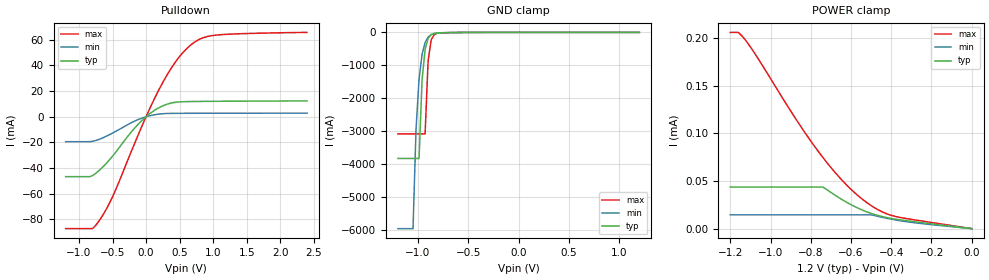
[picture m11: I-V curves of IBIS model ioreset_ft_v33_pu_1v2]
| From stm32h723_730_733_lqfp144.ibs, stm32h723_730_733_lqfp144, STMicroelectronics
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|   Model ioreset_ft_v33_pu_1v2
[Model]  ioreset_ft_v33_pu_1v2
Model_type I/O_open_drain
Polarity   Inverting
Enable   Active-High
Vinl =   0.360000V
Vinh =   0.840000V
Vmeas =  0.600000V
Cref =   30.000000pF
Rref =   100.000000M
Vref =   0.0V
C_comp   2.538100pF   2.521000pF   2.714600pF
[Temperature Range]   25.000000   0.140000k   -40.000000
[Pullup Reference]   1.200000V   0.900000V   1.900000V
[Pulldown Reference]   0.0V   0.0V   0.0V
[POWER Clamp Reference]   1.200000V   0.900000V   1.900000V
[GND Clamp Reference]   0.0V   0.0V   0.0V
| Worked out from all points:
|   slope of the pulldown table from 0 to 0.18 V, typ, clamps not added: 27 ohm
|   GND clamp passes 1 mA (typ) near -0.49 V on its own axis
[Pulldown]
|Voltage   I(typ)   I(min)   I(max)
-1.2V     -46.66mA   -19.4mA    -87.14mA
-800mV    -45.89mA   -19.15mA   -87.14mA
-680mV    -40.87mA   -17.21mA   -79.49mA
-480mV    -29.42mA   -12.15mA   -60.05mA
-160mV    -8.23mA    -3.132mA   -19.4mA
80mV      3.353mA    1.095mA    9.197mA
240mV     8.293mA    2.339mA    25.83mA
400mV     10.97mA    2.656mA    39.78mA
680mV     11.87mA    2.71mA     56.49mA
840mV     11.97mA    2.726mA    61.33mA
1.04V     12.06mA    2.74mA     63.56mA
2.4V      12.34mA    2.81mA     65.71mA
[GND_clamp]
|Voltage   I(typ)   I(min)   I(max)
-1.2V     -3.825A    -5.957A    -3.081A
-1.05V    -3.825A    -5.957A    -3.081A
-1.02V    -3.825A    -2.931A    -3.081A
-990mV    -3.825A    -1.42A     -3.081A
-960mV    -1.441A    -668.9mA   -3.081A
-930mV    -519mA     -309.3mA   -3.081A
-900mV    -183.4mA   -143.6mA   -868.7mA
-870mV    -69.4mA    -69.06mA   -231.1mA
-840mV    -31.29mA   -35.68mA   -67.55mA
-810mV    -17.92mA   -20.53mA   -27.11mA
-750mV    -9.799mA   -9.734mA   -12.04mA
1.2V      0A         38.98nA    0A
[POWER_clamp]
|Voltage   I(typ)   I(min)   I(max)
-1.2V     43.68uA    14.5uA     205.9uA
-1.16V    43.68uA    14.5uA     205.9uA
-1.12V    43.68uA    14.5uA     196.6uA
-1.06V    43.68uA    14.5uA     177.9uA
-860mV    43.68uA    14.5uA     110.6uA
-740mV    43.68uA    14.5uA     74.79uA
-640mV    29.94uA    14.5uA     49.83uA
-560mV    21.04uA    14.5uA     33.74uA
-480mV    14.69uA    13.59uA    21.61uA
-400mV    10.72uA    9.966uA    13.97uA
-260mV    6.619uA    5.61uA     8.461uA
0V        0A         39.85nA    0A
[Ramp]
| variable   typ   min   max
dV/dt_r  0.72000/0.40540u   0.53884/0.26802u   1.14000/0.26450u
dV/dt_f  0.72000/60.00647n   0.53884/59.78855n   1.14000/60.00006n
R_load = 40.000000M
|[Rising Waveform]
|R_fixture= 40.000000M
|V_fixture= 1.200000
|V_fixture_min= 0.900000
|V_fixture_max= 1.900000
||time   V(typ)   V(min)   V(max)
|0.0S   0.667610uV   1.516200uV   0.406330uV
|5.005005uS   0.667420uV   1.516300uV   1.901500V
|10.010010uS   0.667230uV   1.516300uV   1.901600V
|15.015015uS   0.667040uV   1.516300uV   1.901600V
|20.020020uS   0.666850uV   1.516200uV   1.901600V
|25.025025uS   0.667250uV   1.516100uV   1.901600V
|30.030030uS   0.667410uV   1.516000uV   1.901600V
|35.035035uS   0.666920uV   1.515900uV   1.901600V
|40.040040uS   0.667490uV   1.515900uV   1.901600V
|45.045045uS   0.666930uV   1.515900uV   1.901600V
|50.050050uS   0.667460uV   1.516000uV   1.901600V
|55.055055uS   0.337796V   1.516000uV   1.901600V
|60.060060uS   1.200100V   1.516100uV   1.901600V
|65.065065uS   1.200100V   1.516100uV   1.901600V
|70.070070uS   1.200200V   1.516200uV   1.901600V
|75.075075uS   1.200200V   1.516200uV   1.901600V
|80.080080uS   1.200200V   1.516200uV   1.901600V
|85.085085uS   1.200200V   1.516300uV   1.901600V
|90.090090uS   1.200200V   1.516300uV   1.901600V
|95.095095uS   1.200200V   1.516400uV   1.901600V
|0.100100mS   1.200200V   1.516400uV   1.901600V
|0.105105mS   1.200200V   1.516300uV   1.901600V
|0.110110mS   1.200200V   1.516300uV   1.901600V
|0.115115mS   1.200200V   1.516300uV   1.901600V
|0.120120mS   1.200200V   1.516200uV   1.901600V
|0.125125mS   1.200200V   1.516200uV   1.901600V
|0.130130mS   1.200200V   1.516100uV   1.901600V
|0.135135mS   1.200200V   1.516100uV   1.901600V
|0.140140mS   1.200200V   1.516000uV   1.901600V
|0.145145mS   1.200200V   1.516000uV   1.901600V
|0.150150mS   1.200200V   1.516000uV   1.901600V
|0.155155mS   1.200200V   1.515900uV   1.901600V
|0.160160mS   1.200200V   1.515900uV   1.901600V
|0.165165mS   1.200200V   1.516000uV   1.901600V
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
